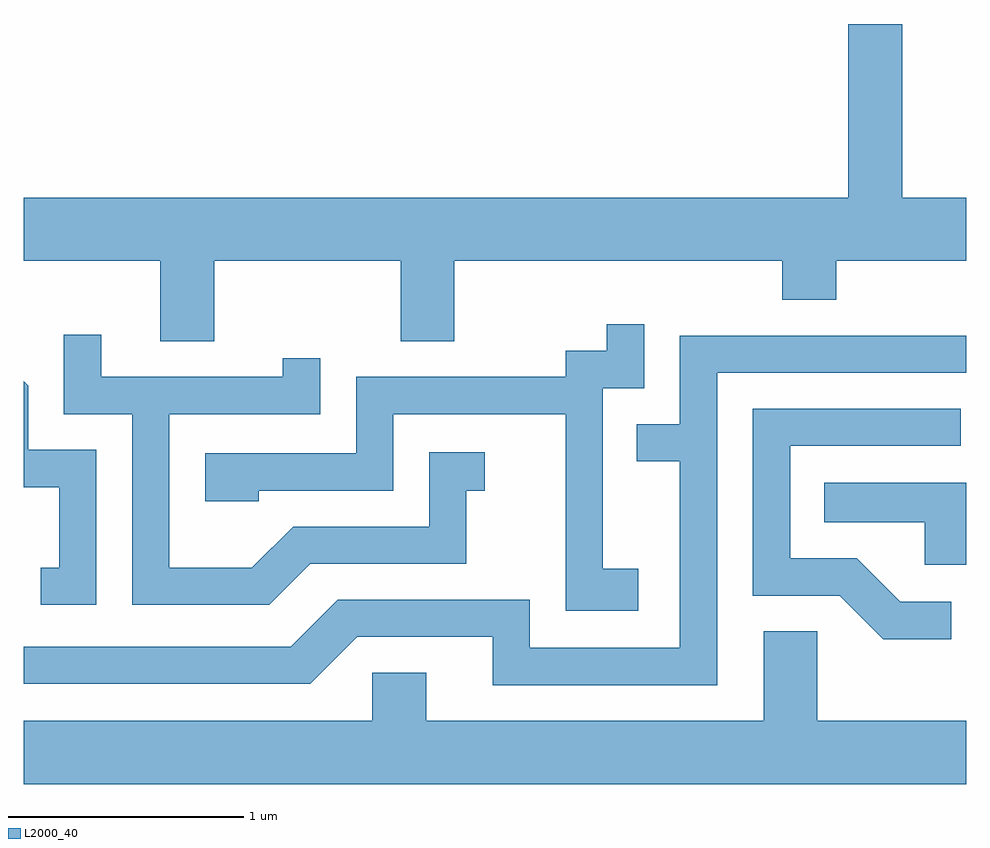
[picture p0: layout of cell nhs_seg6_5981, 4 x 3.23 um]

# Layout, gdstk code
import gdstk
lib = gdstk.Library(unit=1e-6, precision=1e-09)
def P(c, l, *ps):  # polygons
    for p in ps: c.add(gdstk.Polygon(p, *l))
L2000_40 = (2000, 40)

nhs_seg6_5981 = lib.new_cell('nhs_seg6_5981')
P(nhs_seg6_5981, L2000_40, [(368.419,1541.156),(369.211,1541.156),(369.211,1540.816),(369.439,1540.816),(369.439,1541.156),(370.831,1541.156),(370.831,1540.991),(371.059,1540.991),(371.059,1541.156),(371.611,1541.156),(371.611,1541.424),(371.339,1541.424),(371.339,1542.162),(371.111,1542.162),(371.111,1541.424),(367.611,1541.424),(367.611,1541.156),(368.191,1541.156),(368.191,1540.816),(368.419,1540.816)],
  [(370.219,1539.849),(370.069,1539.849),(370.069,1540.616),(370.244,1540.616),(370.244,1540.888),(370.086,1540.888),(370.086,1540.774),(369.911,1540.774),(369.911,1540.664),(369.021,1540.664),(369.021,1540.339),(368.381,1540.339),(368.381,1540.136),(368.609,1540.136),(368.609,1540.181),(369.179,1540.181),(369.179,1540.506),(369.911,1540.506),(369.911,1539.671),(370.219,1539.671)],
  [(368.827,1539.871),(369.489,1539.871),(369.489,1540.181),(369.568,1540.181),(369.568,1540.344),(369.331,1540.344),(369.331,1540.029),(368.754,1540.029),(368.579,1539.854),(368.229,1539.854),(368.229,1540.506),(368.869,1540.506),(368.869,1540.743),(368.711,1540.743),(368.711,1540.664),(367.939,1540.664),(367.939,1540.843),(367.781,1540.843),(367.781,1540.506),(368.071,1540.506),(368.071,1539.696),(368.652,1539.696)],
  [(370.554,1540.681),(371.611,1540.681),(371.611,1540.839),(370.396,1540.839),(370.396,1540.464),(370.213,1540.464),(370.213,1540.306),(370.396,1540.306),(370.396,1539.514),(369.759,1539.514),(369.759,1539.719),(368.944,1539.719),(368.744,1539.519),(367.611,1539.519),(367.611,1539.361),(368.827,1539.361),(369.027,1539.561),(369.601,1539.561),(369.601,1539.356),(370.554,1539.356)],
  [(367.919,1540.354),(367.629,1540.354),(367.629,1540.627),(367.611,1540.645),(367.611,1540.196),(367.761,1540.196),(367.761,1539.854),(367.683,1539.854),(367.683,1539.696),(367.919,1539.696)],
  [(371.548,1539.709),(371.332,1539.709),(371.147,1539.894),(370.864,1539.894),(370.864,1540.371),(371.588,1540.371),(371.588,1540.529),(370.706,1540.529),(370.706,1539.736),(371.074,1539.736),(371.259,1539.551),(371.548,1539.551)],
  [(371.611,1540.214),(371.008,1540.214),(371.008,1540.046),(371.436,1540.046),(371.436,1539.866),(371.611,1539.866)],
  [(371.611,1539.204),(370.979,1539.204),(370.979,1539.584),(370.751,1539.584),(370.751,1539.204),(369.319,1539.204),(369.319,1539.409),(369.091,1539.409),(369.091,1539.204),(367.611,1539.204),(367.611,1538.936),(371.611,1538.936)])

lib.write_gds('nhs_seg6_5981.gds')
